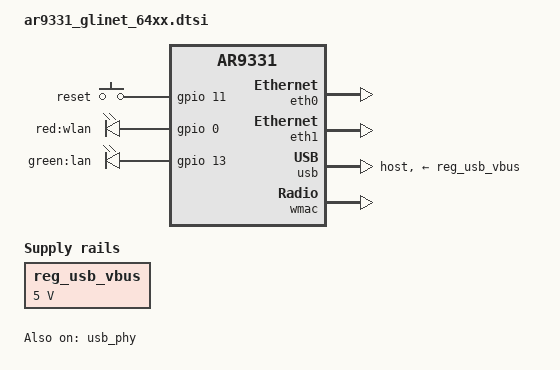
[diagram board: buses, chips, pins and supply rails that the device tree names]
// SPDX-License-Identifier: GPL-2.0-or-later OR MIT

#include "ar9331.dtsi"

#include <dt-bindings/gpio/gpio.h>
#include <dt-bindings/input/input.h>

/ {
	keys {
		compatible = "gpio-keys";

		reset {
			label = "reset";
			linux,code = <KEY_RESTART>;
			gpios = <&gpio 11 GPIO_ACTIVE_HIGH>;
			debounce-interval = <60>;
		};
	};

	leds {
		compatible = "gpio-leds";

		wlan {
			label = "red:wlan";
			gpios = <&gpio 0 GPIO_ACTIVE_HIGH>;
			linux,default-trigger = "phy0tpt";
		};

		lan {
			label = "green:lan";
			gpios = <&gpio 13 GPIO_ACTIVE_HIGH>;
		};
	};

	reg_usb_vbus: reg_usb_vbus {
		compatible = "regulator-fixed";
		regulator-name = "usb_vbus";
		regulator-min-microvolt = <5000000>;
		regulator-max-microvolt = <5000000>;
		enable-active-high;
	};
};

&eth0 {
	status = "okay";

	gmac-config {
		device = <&gmac>;

		switch-phy-addr-swap = <0>;
		switch-phy-swap = <0>;
	};
};

&eth1 {
	status = "okay";
};

&usb {
	dr_mode = "host";
	vbus-supply = <&reg_usb_vbus>;
	status = "okay";
};

&usb_phy {
	status = "okay";
};

&wmac {
	status = "okay";
};
